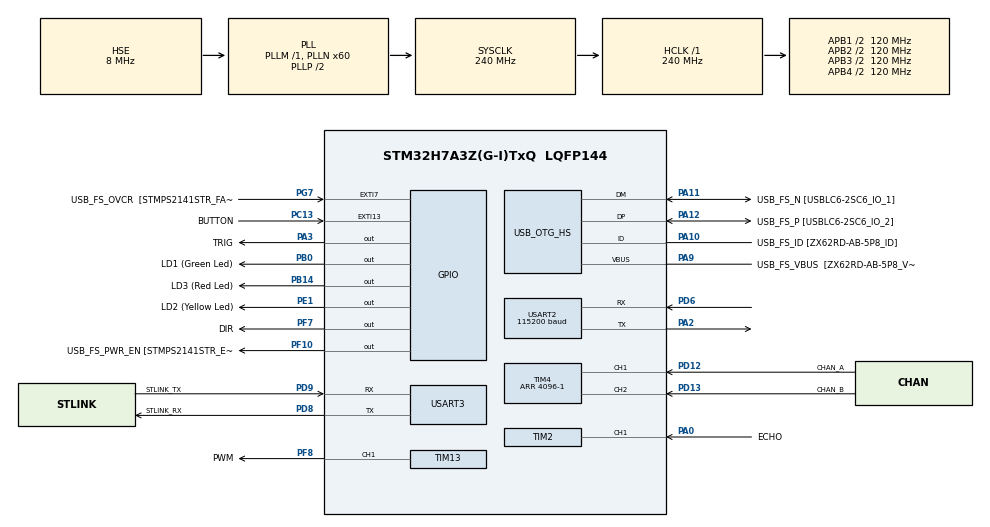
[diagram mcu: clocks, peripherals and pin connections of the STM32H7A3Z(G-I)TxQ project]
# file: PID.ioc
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Mcu.Family=STM32H7
Mcu.Name=STM32H7A3Z(G-I)TxQ
Mcu.Package=LQFP144
NVIC.EXTI15_10_IRQn=true\:0\:0\:false\:false\:true\:true\:true\:true
NVIC.PriorityGroup=NVIC_PRIORITYGROUP_4
NVIC.TIM1_UP_IRQn=true\:0\:0\:false\:false\:true\:true\:true\:true
NVIC.TIM2_IRQn=true\:0\:0\:false\:false\:true\:true\:true\:true
NVIC.TIM3_IRQn=true\:0\:0\:false\:false\:true\:true\:true\:true
NVIC.TIM4_IRQn=true\:0\:0\:false\:false\:true\:true\:true\:true
NVIC.TIM8_UP_TIM13_IRQn=true\:0\:0\:false\:false\:true\:true\:true\:true
PA0.GPIO_Label=ECHO
PA0.Signal=S_TIM2_CH1_ETR
PA10.GPIO_Label=USB_FS_ID [ZX62RD-AB-5P8_ID]
PA10.Mode=OTG/Dual-Role-Device-FS
PA10.Signal=USB_OTG_HS_ID
PA11.GPIO_Label=USB_FS_N [USBLC6-2SC6_IO_1]
PA11.Mode=OTG/Dual-Role-Device-FS
PA11.Signal=USB_OTG_HS_DM
PA12.GPIO_Label=USB_FS_P [USBLC6-2SC6_IO_2]
PA12.Mode=OTG/Dual-Role-Device-FS
PA12.Signal=USB_OTG_HS_DP
PA2.Mode=Asynchronous
PA2.Signal=USART2_TX
PA3.GPIO_Label=TRIG
PA3.GPIO_Speed=GPIO_SPEED_FREQ_HIGH
PA3.Signal=GPIO_Output
PA9.GPIO_Label=USB_FS_VBUS  [ZX62RD-AB-5P8_VBUS]
PA9.Mode=Activate_VBUS_FS
PA9.Signal=USB_OTG_HS_VBUS
PB0.GPIO_Label=LD1 (Green Led)
PB0.Signal=GPIO_Output
PB14.GPIO_Label=LD3 (Red Led)
PB14.Signal=GPIO_Output
PC13.GPIO_Label=BUTTON
PC13.Signal=GPXTI13
PC14-OSC32_IN.GPIO_Label=OSC32_IN
PC14-OSC32_IN.Mode=LSE-External-Oscillator
PC14-OSC32_IN.Signal=RCC_OSC32_IN
PC15-OSC32_OUT.GPIO_Label=OSC32_OUT
PC15-OSC32_OUT.Mode=LSE-External-Oscillator
PC15-OSC32_OUT.Signal=RCC_OSC32_OUT
PD12.GPIO_Label=CHAN_A
PD12.Signal=S_TIM4_CH1
PD13.GPIO_Label=CHAN_B
PD13.Signal=S_TIM4_CH2
PD6.Mode=Asynchronous
PD6.Signal=USART2_RX
PD8.GPIO_Label=STLINK_RX
PD8.Mode=Asynchronous
PD8.Signal=USART3_TX
PD9.GPIO_Label=STLINK_TX
PD9.Mode=Asynchronous
PD9.Signal=USART3_RX
PE1.GPIO_Label=LD2 (Yellow Led)
PE1.Signal=GPIO_Output
PF10.GPIO_Label=USB_FS_PWR_EN [STMPS2141STR_EN]
PF10.Signal=GPIO_Output
PF7.GPIO_Label=DIR
PF7.Signal=GPIO_Output
PF8.GPIO_Label=PWM
PF8.Signal=S_TIM13_CH1
PG7.GPIO_Label=USB_FS_OVCR  [STMPS2141STR_FAULT]
PG7.Signal=GPXTI7
PH0-OSC_IN.GPIO_Label=PH0-MCU
PH0-OSC_IN.Mode=HSE-External-Clock-Source
PH0-OSC_IN.Signal=RCC_OSC_IN
PH1-OSC_OUT.GPIO_Label=PH1-MCU
PH1-OSC_OUT.Signal=RCC_OSC_OUT
ProjectManager.HeapSize=0x200
ProjectManager.StackSize=0x400
ProjectManager.TargetToolchain=STM32CubeIDE
RCC.ADCFreq_Value=16125000
RCC.APB1Freq_Value=120000000
RCC.APB2Freq_Value=120000000
RCC.APB3Freq_Value=120000000
RCC.APB4Freq_Value=120000000
RCC.CDPPRE=RCC_APB3_DIV2
RCC.CDPPRE1=RCC_APB1_DIV2
RCC.CDPPRE2=RCC_APB2_DIV2
RCC.CortexFreq_Value=240000000
RCC.DIVM1=1
RCC.DIVM3=1
RCC.DIVN1=60
RCC.DIVN3=24
RCC.DIVQ1=4
RCC.HCLKFreq_Value=240000000
RCC.HSE_VALUE=8000000
RCC.PLLFRACN=0
RCC.PLLSourceVirtual=RCC_PLLSOURCE_HSE
RCC.PWR_Regulator_Voltage_Scale=PWR_REGULATOR_VOLTAGE_SCALE0
RCC.SRDPPRE=RCC_APB4_DIV2
RCC.SYSCLKFreq_VALUE=240000000
RCC.SYSCLKSource=RCC_SYSCLKSOURCE_PLLCLK
RCC.SupplySource=PWR_DIRECT_SMPS_SUPPLY
RCC.USBCLockSelection=RCC_USBCLKSOURCE_HSI48
RCC.USBFreq_Value=48000000
SH.S_TIM13_CH1.0=TIM13_CH1,PWM Generation1 CH1
SH.S_TIM2_CH1_ETR.0=TIM2_CH1,Input_Capture1_from_TI1
SH.S_TIM4_CH1.0=TIM4_CH1,Encoder_Interface
SH.S_TIM4_CH2.0=TIM4_CH2,Encoder_Interface
TIM1.Period=3000-1
TIM1.Prescaler=2400-1
TIM13.Channel=TIM_CHANNEL_1
TIM13.Period=1000-1
TIM13.Prescaler=240-1
TIM2.Channel-Input_Capture1_from_TI1=TIM_CHANNEL_1
TIM2.ICPolarity_CH1=TIM_INPUTCHANNELPOLARITY_RISING
TIM2.Prescaler=240-1
TIM3.Period=10-1
TIM3.Prescaler=240-1
TIM4.EncoderMode=TIM_ENCODERMODE_TI12
TIM4.Period=4096-1
USART2.BaudRate=115200
USART2.VirtualMode-Asynchronous=VM_ASYNC
USART3.VirtualMode-Asynchronous=VM_ASYNC
VP_TIM13_VS_ClockSourceINT.Mode=Enable_Timer
VP_TIM1_VS_ClockSourceINT.Mode=Internal
VP_TIM3_VS_ClockSourceINT.Mode=Internal
board=NUCLEO-H7A3ZI-Q

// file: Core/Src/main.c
/* USER CODE BEGIN Header */
/**
 ******************************************************************************
 * @file           : main.c
 * @brief          : Main program body
 ******************************************************************************
 * @attention
 *
 * Copyright (c) 2022 STMicroelectronics.
 * All rights reserved.
 *
 * This software is licensed under terms that can be found in the LICENSE file
 * in the root directory of this software component.
 * If no LICENSE file comes with this software, it is provided AS-IS.
 *
 ******************************************************************************
 */
/* USER CODE END Header */
#include "main.h"

/* USER CODE BEGIN Includes */
#include "PID.h"
#include <stdio.h>
#include <stdlib.h>
#include <math.h>
/* USER CODE END Includes */

/* USER CODE BEGIN PD */
//----ENCODER DEFINE----
#define PPR 1024
#define GEAR_RATIO 1
#define RESOLUTION 4
#define STARTPOSITION 90
//----------------------

//---- SONAR DEFINE ----
#define TIMCLOCK   240000000
#define PRESCALAR  240-1
//----------------------

//---- MOTOR DEFINE ----
#define CW 1	// Clockwise(CW) Rotation
#define CCW 0   // Counterclockwise(CCW) Rotation
//----------------------
/* USER CODE END PD */

TIM_HandleTypeDef htim1;
TIM_HandleTypeDef htim2;
TIM_HandleTypeDef htim3;
TIM_HandleTypeDef htim4;
TIM_HandleTypeDef htim13;

UART_HandleTypeDef huart2;
UART_HandleTypeDef huart3;

/* USER CODE BEGIN PV */

//---- ENCODER PV----
double countsXDeg = 360.0/(PPR*GEAR_RATIO*RESOLUTION);
double counts = 0;
double degAngle = 0;
double prevDegAngle = 0;
double degsToRads = 0.017453292519943;
//-------------------

//---- SONAR PV -----
int IC_Val1 = 0;
int IC_Val2 = 0;
int Difference = 0;
int Is_First_Captured = 0;
float usWidth = 0;
float distance = 0;
float prevDistance = 0;
double prevPos = 0.0;

int trigFlag = 0;
//-------------------

//---- SYSTEM PV ----
PID pid;
float PIDsetPoint = 0.0;
double referencePosition = 0.60;

double deltaT = 0.03;  //sampling period
double timestamp = 0.0;
double x[4] = {0,0,0,0}; //stato (posizione, velocitàLineare, angolo, velocitàAngolare)
double u = 0; //
double controlUpperLimit = 950;
double controlLowerLimit = -950;
int dataAquisitionFlag = 0;
int startFlag = 0;
//-------------------
/* USER CODE END PV */

void SystemClock_Config(void);
static void MX_GPIO_Init(void);
static void MX_USART3_UART_Init(void);
static void MX_USB_OTG_HS_USB_Init(void);
static void MX_TIM2_Init(void);
static void MX_TIM1_Init(void);
static void MX_TIM3_Init(void);
static void MX_TIM4_Init(void);
static void MX_TIM13_Init(void);
static void MX_USART2_UART_Init(void);
/* USER CODE BEGIN PFP */
double getEncoderAngle();
double getAngularSpeed();
double getPosition();
double getLinearSpeed();

void setMotorDuty(int duty);
void setMotorDir(int dir);

void printTelemetry();

double round(double x);
double kalman(double dist);
/* USER CODE END PFP */

int main(void)
{

	/* MCU Configuration--------------------------------------------------------*/

	/* Reset of all peripherals, Initializes the Flash interface and the Systick. */
	HAL_Init();

	/* Configure the system clock */
	SystemClock_Config();

	/* Initialize all configured peripherals */
	MX_GPIO_Init();
	MX_USART3_UART_Init();
	MX_USB_OTG_HS_USB_Init();
	MX_TIM2_Init();
	MX_TIM1_Init();
	MX_TIM3_Init();
	MX_TIM4_Init();
	MX_TIM13_Init();
	MX_USART2_UART_Init();
	/* USER CODE BEGIN 2 */
	HAL_TIM_Base_Start_IT(&htim1);  //Data Aquisition Timer
	HAL_TIM_IC_Start_IT(&htim2, TIM_CHANNEL_1);  //Sonar Timer (ECHO_Pin pulse Width)
	HAL_TIM_Base_Start_IT(&htim3);  //Sonar TRIG_Pin Timer
	HAL_TIM_Encoder_Start(&htim4, TIM_CHANNEL_ALL);  //Encoder Timer
	HAL_TIM_PWM_Start(&htim13, TIM_CHANNEL_1); // PWM Timer

	init_PID(&pid, deltaT, controlUpperLimit, controlLowerLimit);
	tune_PID(&pid, 110, 880, 9.075);// kp ki kd  //molto buono 325, 2, 7 oppure 400, 765, 4, oppure 300 540 3
	/* USER CODE END 2 */

	/* Infinite loop */
	while (1)
	{

		/* USER CODE BEGIN 3 */
		if (dataAquisitionFlag == 1) {
			x[0]=getPosition();
			x[1]=getLinearSpeed();
			x[2]=getEncoderAngle();
			x[3]=getAngularSpeed();

			if (startFlag == 1) {
				timestamp += deltaT;
				u = PID_controller(&pid, x[2], PIDsetPoint);

				if(u == 0)
					setMotorDuty(0);
				else if (u > 0){
					setMotorDir(CCW);
				}
				else{
					setMotorDir(CW);
				}

				setMotorDuty(abs((int)u));
			} else
				setMotorDuty(0);

			printTelemetry();
			dataAquisitionFlag = 0;
		}
	}
	/* USER CODE END 3 */
}

void SystemClock_Config(void)
{
	RCC_OscInitTypeDef RCC_OscInitStruct = {0};
	RCC_ClkInitTypeDef RCC_ClkInitStruct = {0};

	/*AXI clock gating */
	RCC->CKGAENR = 0xFFFFFFFF;

	/** Supply configuration update enable
	 */
	HAL_PWREx_ConfigSupply(PWR_DIRECT_SMPS_SUPPLY);

	/** Configure the main internal regulator output voltage
	 */
	__HAL_PWR_VOLTAGESCALING_CONFIG(PWR_REGULATOR_VOLTAGE_SCALE0);

	while(!__HAL_PWR_GET_FLAG(PWR_FLAG_VOSRDY)) {}

	/** Initializes the RCC Oscillators according to the specified parameters
	 * in the RCC_OscInitTypeDef structure.
	 */
	RCC_OscInitStruct.OscillatorType = RCC_OSCILLATORTYPE_HSI48|RCC_OSCILLATORTYPE_HSE;
	RCC_OscInitStruct.HSEState = RCC_HSE_BYPASS;
	RCC_OscInitStruct.HSI48State = RCC_HSI48_ON;
	RCC_OscInitStruct.PLL.PLLState = RCC_PLL_ON;
	RCC_OscInitStruct.PLL.PLLSource = RCC_PLLSOURCE_HSE;
	RCC_OscInitStruct.PLL.PLLM = 1;
	RCC_OscInitStruct.PLL.PLLN = 60;
	RCC_OscInitStruct.PLL.PLLP = 2;
	RCC_OscInitStruct.PLL.PLLQ = 4;
	RCC_OscInitStruct.PLL.PLLR = 2;
	RCC_OscInitStruct.PLL.PLLRGE = RCC_PLL1VCIRANGE_3;
	RCC_OscInitStruct.PLL.PLLVCOSEL = RCC_PLL1VCOWIDE;
	RCC_OscInitStruct.PLL.PLLFRACN = 0;
	if (HAL_RCC_OscConfig(&RCC_OscInitStruct) != HAL_OK)
	{
		Error_Handler();
	}

	/** Initializes the CPU, AHB and APB buses clocks
	 */
	RCC_ClkInitStruct.ClockType = RCC_CLOCKTYPE_HCLK|RCC_CLOCKTYPE_SYSCLK
			|RCC_CLOCKTYPE_PCLK1|RCC_CLOCKTYPE_PCLK2
			|RCC_CLOCKTYPE_D3PCLK1|RCC_CLOCKTYPE_D1PCLK1;
	RCC_ClkInitStruct.SYSCLKSource = RCC_SYSCLKSOURCE_PLLCLK;
	RCC_ClkInitStruct.SYSCLKDivider = RCC_SYSCLK_DIV1;
	RCC_ClkInitStruct.AHBCLKDivider = RCC_HCLK_DIV1;
	RCC_ClkInitStruct.APB3CLKDivider = RCC_APB3_DIV2;
	RCC_ClkInitStruct.APB1CLKDivider = RCC_APB1_DIV2;
	RCC_ClkInitStruct.APB2CLKDivider = RCC_APB2_DIV2;
	RCC_ClkInitStruct.APB4CLKDivider = RCC_APB4_DIV2;

	if (HAL_RCC_ClockConfig(&RCC_ClkInitStruct, FLASH_LATENCY_5) != HAL_OK)
	{
		Error_Handler();
	}
}

static void MX_TIM1_Init(void)
{

	TIM_ClockConfigTypeDef sClockSourceConfig = {0};
	TIM_MasterConfigTypeDef sMasterConfig = {0};

	htim1.Instance = TIM1;
	htim1.Init.Prescaler = 2400-1;
	htim1.Init.CounterMode = TIM_COUNTERMODE_UP;
	htim1.Init.Period = 3000-1;
	htim1.Init.ClockDivision = TIM_CLOCKDIVISION_DIV1;
	htim1.Init.RepetitionCounter = 0;
	htim1.Init.AutoReloadPreload = TIM_AUTORELOAD_PRELOAD_DISABLE;
	if (HAL_TIM_Base_Init(&htim1) != HAL_OK)
	{
		Error_Handler();
	}
	sClockSourceConfig.ClockSource = TIM_CLOCKSOURCE_INTERNAL;
	if (HAL_TIM_ConfigClockSource(&htim1, &sClockSourceConfig) != HAL_OK)
	{
		Error_Handler();
	}
	sMasterConfig.MasterOutputTrigger = TIM_TRGO_RESET;
	sMasterConfig.MasterOutputTrigger2 = TIM_TRGO2_RESET;
	sMasterConfig.MasterSlaveMode = TIM_MASTERSLAVEMODE_DISABLE;
	if (HAL_TIMEx_MasterConfigSynchronization(&htim1, &sMasterConfig) != HAL_OK)
	{
		Error_Handler();
	}

}

static void MX_TIM2_Init(void)
{

	TIM_MasterConfigTypeDef sMasterConfig = {0};
	TIM_IC_InitTypeDef sConfigIC = {0};

	htim2.Instance = TIM2;
	htim2.Init.Prescaler = 240-1;
	htim2.Init.CounterMode = TIM_COUNTERMODE_UP;
	htim2.Init.Period = 4294967295;
	htim2.Init.ClockDivision = TIM_CLOCKDIVISION_DIV1;
	htim2.Init.AutoReloadPreload = TIM_AUTORELOAD_PRELOAD_DISABLE;
	if (HAL_TIM_IC_Init(&htim2) != HAL_OK)
	{
		Error_Handler();
	}
	sMasterConfig.MasterOutputTrigger = TIM_TRGO_RESET;
	sMasterConfig.MasterSlaveMode = TIM_MASTERSLAVEMODE_DISABLE;
	if (HAL_TIMEx_MasterConfigSynchronization(&htim2, &sMasterConfig) != HAL_OK)
	{
		Error_Handler();
	}
	sConfigIC.ICPolarity = TIM_INPUTCHANNELPOLARITY_RISING;
	sConfigIC.ICSelection = TIM_ICSELECTION_DIRECTTI;
	sConfigIC.ICPrescaler = TIM_ICPSC_DIV1;
	sConfigIC.ICFilter = 0;
	if (HAL_TIM_IC_ConfigChannel(&htim2, &sConfigIC, TIM_CHANNEL_1) != HAL_OK)
	{
		Error_Handler();
	}

}

static void MX_TIM3_Init(void)
{

	TIM_ClockConfigTypeDef sClockSourceConfig = {0};
	TIM_MasterConfigTypeDef sMasterConfig = {0};

	htim3.Instance = TIM3;
	htim3.Init.Prescaler = 240-1;
	htim3.Init.CounterMode = TIM_COUNTERMODE_UP;
	htim3.Init.Period = 10-1;
	htim3.Init.ClockDivision = TIM_CLOCKDIVISION_DIV1;
	htim3.Init.AutoReloadPreload = TIM_AUTORELOAD_PRELOAD_DISABLE;
	if (HAL_TIM_Base_Init(&htim3) != HAL_OK)
	{
		Error_Handler();
	}
	sClockSourceConfig.ClockSource = TIM_CLOCKSOURCE_INTERNAL;
	if (HAL_TIM_ConfigClockSource(&htim3, &sClockSourceConfig) != HAL_OK)
	{
		Error_Handler();
	}
	sMasterConfig.MasterOutputTrigger = TIM_TRGO_RESET;
	sMasterConfig.MasterSlaveMode = TIM_MASTERSLAVEMODE_DISABLE;
	if (HAL_TIMEx_MasterConfigSynchronization(&htim3, &sMasterConfig) != HAL_OK)
	{
		Error_Handler();
	}

}

static void MX_TIM4_Init(void)
{

	TIM_Encoder_InitTypeDef sConfig = {0};
	TIM_MasterConfigTypeDef sMasterConfig = {0};

	htim4.Instance = TIM4;
	htim4.Init.Prescaler = 0;
	htim4.Init.CounterMode = TIM_COUNTERMODE_UP;
	htim4.Init.Period = 4096-1;
	htim4.Init.ClockDivision = TIM_CLOCKDIVISION_DIV1;
	htim4.Init.AutoReloadPreload = TIM_AUTORELOAD_PRELOAD_DISABLE;
	sConfig.EncoderMode = TIM_ENCODERMODE_TI12;
	sConfig.IC1Polarity = TIM_ICPOLARITY_RISING;
	sConfig.IC1Selection = TIM_ICSELECTION_DIRECTTI;
	sConfig.IC1Prescaler = TIM_ICPSC_DIV1;
	sConfig.IC1Filter = 0;
	sConfig.IC2Polarity = TIM_ICPOLARITY_RISING;
	sConfig.IC2Selection = TIM_ICSELECTION_DIRECTTI;
	sConfig.IC2Prescaler = TIM_ICPSC_DIV1;
	sConfig.IC2Filter = 0;
	if (HAL_TIM_Encoder_Init(&htim4, &sConfig) != HAL_OK)
	{
		Error_Handler();
	}
	sMasterConfig.MasterOutputTrigger = TIM_TRGO_RESET;
	sMasterConfig.MasterSlaveMode = TIM_MASTERSLAVEMODE_DISABLE;
	if (HAL_TIMEx_MasterConfigSynchronization(&htim4, &sMasterConfig) != HAL_OK)
	{
		Error_Handler();
	}

}

static void MX_TIM13_Init(void)
{

	TIM_OC_InitTypeDef sConfigOC = {0};

	htim13.Instance = TIM13;
	htim13.Init.Prescaler = 240-1;
	htim13.Init.CounterMode = TIM_COUNTERMODE_UP;
	htim13.Init.Period = 1000-1;
	htim13.Init.ClockDivision = TIM_CLOCKDIVISION_DIV1;
	htim13.Init.AutoReloadPreload = TIM_AUTORELOAD_PRELOAD_DISABLE;
	if (HAL_TIM_Base_Init(&htim13) != HAL_OK)
	{
		Error_Handler();
	}
	if (HAL_TIM_PWM_Init(&htim13) != HAL_OK)
	{
		Error_Handler();
	}
	sConfigOC.OCMode = TIM_OCMODE_PWM1;
	sConfigOC.Pulse = 0;
	sConfigOC.OCPolarity = TIM_OCPOLARITY_HIGH;
	sConfigOC.OCFastMode = TIM_OCFAST_DISABLE;
	if (HAL_TIM_PWM_ConfigChannel(&htim13, &sConfigOC, TIM_CHANNEL_1) != HAL_OK)
	{
		Error_Handler();
	}
	HAL_TIM_MspPostInit(&htim13);

}

static void MX_USART2_UART_Init(void)
{

	huart2.Instance = USART2;
	huart2.Init.BaudRate = 115200;
	huart2.Init.WordLength = UART_WORDLENGTH_8B;
	huart2.Init.StopBits = UART_STOPBITS_1;
	huart2.Init.Parity = UART_PARITY_NONE;
	huart2.Init.Mode = UART_MODE_TX_RX;
	huart2.Init.HwFlowCtl = UART_HWCONTROL_NONE;
	huart2.Init.OverSampling = UART_OVERSAMPLING_16;
	huart2.Init.OneBitSampling = UART_ONE_BIT_SAMPLE_DISABLE;
	huart2.Init.ClockPrescaler = UART_PRESCALER_DIV1;
	huart2.AdvancedInit.AdvFeatureInit = UART_ADVFEATURE_NO_INIT;
	if (HAL_UART_Init(&huart2) != HAL_OK)
	{
		Error_Handler();
	}
	if (HAL_UARTEx_SetTxFifoThreshold(&huart2, UART_TXFIFO_THRESHOLD_1_8) != HAL_OK)
	{
		Error_Handler();
	}
	if (HAL_UARTEx_SetRxFifoThreshold(&huart2, UART_RXFIFO_THRESHOLD_1_8) != HAL_OK)
	{
		Error_Handler();
	}
	if (HAL_UARTEx_DisableFifoMode(&huart2) != HAL_OK)
	{
		Error_Handler();
	}

}

static void MX_USART3_UART_Init(void)
{

	huart3.Instance = USART3;
	huart3.Init.BaudRate = 115200;
	huart3.Init.WordLength = UART_WORDLENGTH_8B;
	huart3.Init.StopBits = UART_STOPBITS_1;
	huart3.Init.Parity = UART_PARITY_NONE;
	huart3.Init.Mode = UART_MODE_TX_RX;
	huart3.Init.HwFlowCtl = UART_HWCONTROL_NONE;
	huart3.Init.OverSampling = UART_OVERSAMPLING_16;
	huart3.Init.OneBitSampling = UART_ONE_BIT_SAMPLE_DISABLE;
	huart3.Init.ClockPrescaler = UART_PRESCALER_DIV1;
	huart3.AdvancedInit.AdvFeatureInit = UART_ADVFEATURE_NO_INIT;
	if (HAL_UART_Init(&huart3) != HAL_OK)
	{
		Error_Handler();
	}
	if (HAL_UARTEx_SetTxFifoThreshold(&huart3, UART_TXFIFO_THRESHOLD_1_8) != HAL_OK)
	{
		Error_Handler();
	}
	if (HAL_UARTEx_SetRxFifoThreshold(&huart3, UART_RXFIFO_THRESHOLD_1_8) != HAL_OK)
	{
		Error_Handler();
	}
	if (HAL_UARTEx_DisableFifoMode(&huart3) != HAL_OK)
	{
		Error_Handler();
	}

}

static void MX_USB_OTG_HS_USB_Init(void)
{

}

static void MX_GPIO_Init(void)
{
	GPIO_InitTypeDef GPIO_InitStruct = {0};

	/* GPIO Ports Clock Enable */
	__HAL_RCC_GPIOC_CLK_ENABLE();
	__HAL_RCC_GPIOF_CLK_ENABLE();
	__HAL_RCC_GPIOH_CLK_ENABLE();
	__HAL_RCC_GPIOA_CLK_ENABLE();
	__HAL_RCC_GPIOB_CLK_ENABLE();
	__HAL_RCC_GPIOD_CLK_ENABLE();
	__HAL_RCC_GPIOG_CLK_ENABLE();
	__HAL_RCC_GPIOE_CLK_ENABLE();

	/*Configure GPIO pin Output Level */
	HAL_GPIO_WritePin(GPIOF, DIR_Pin|USB_FS_PWR_EN_Pin, GPIO_PIN_RESET);

	/*Configure GPIO pin Output Level */
	HAL_GPIO_WritePin(TRIG_GPIO_Port, TRIG_Pin, GPIO_PIN_RESET);

	/*Configure GPIO pin Output Level */
	HAL_GPIO_WritePin(GPIOB, LD1_Pin|LD3_Pin, GPIO_PIN_RESET);

	/*Configure GPIO pin Output Level */
	HAL_GPIO_WritePin(LD2_GPIO_Port, LD2_Pin, GPIO_PIN_RESET);

	/*Configure GPIO pin : BUTTON_Pin */
	GPIO_InitStruct.Pin = BUTTON_Pin;
	GPIO_InitStruct.Mode = GPIO_MODE_IT_RISING;
	GPIO_InitStruct.Pull = GPIO_NOPULL;
	HAL_GPIO_Init(BUTTON_GPIO_Port, &GPIO_InitStruct);

	/*Configure GPIO pins : DIR_Pin USB_FS_PWR_EN_Pin */
	GPIO_InitStruct.Pin = DIR_Pin|USB_FS_PWR_EN_Pin;
	GPIO_InitStruct.Mode = GPIO_MODE_OUTPUT_PP;
	GPIO_InitStruct.Pull = GPIO_NOPULL;
	GPIO_InitStruct.Speed = GPIO_SPEED_FREQ_LOW;
	HAL_GPIO_Init(GPIOF, &GPIO_InitStruct);

	/*Configure GPIO pin : TRIG_Pin */
	GPIO_InitStruct.Pin = TRIG_Pin;
	GPIO_InitStruct.Mode = GPIO_MODE_OUTPUT_PP;
	GPIO_InitStruct.Pull = GPIO_NOPULL;
	GPIO_InitStruct.Speed = GPIO_SPEED_FREQ_HIGH;
	HAL_GPIO_Init(TRIG_GPIO_Port, &GPIO_InitStruct);

	/*Configure GPIO pins : LD1_Pin LD3_Pin */
	GPIO_InitStruct.Pin = LD1_Pin|LD3_Pin;
	GPIO_InitStruct.Mode = GPIO_MODE_OUTPUT_PP;
	GPIO_InitStruct.Pull = GPIO_NOPULL;
	GPIO_InitStruct.Speed = GPIO_SPEED_FREQ_LOW;
	HAL_GPIO_Init(GPIOB, &GPIO_InitStruct);

	/*Configure GPIO pin : USB_FS_OVCR_Pin */
	GPIO_InitStruct.Pin = USB_FS_OVCR_Pin;
	GPIO_InitStruct.Mode = GPIO_MODE_IT_RISING;
	GPIO_InitStruct.Pull = GPIO_NOPULL;
	HAL_GPIO_Init(USB_FS_OVCR_GPIO_Port, &GPIO_InitStruct);

	/*Configure GPIO pin : USB_FS_VBUS_Pin */
	GPIO_InitStruct.Pin = USB_FS_VBUS_Pin;
	GPIO_InitStruct.Mode = GPIO_MODE_INPUT;
	GPIO_InitStruct.Pull = GPIO_NOPULL;
	HAL_GPIO_Init(USB_FS_VBUS_GPIO_Port, &GPIO_InitStruct);

	/*Configure GPIO pin : USB_FS_ID_Pin */
	GPIO_InitStruct.Pin = USB_FS_ID_Pin;
	GPIO_InitStruct.Mode = GPIO_MODE_AF_PP;
	GPIO_InitStruct.Pull = GPIO_NOPULL;
	GPIO_InitStruct.Speed = GPIO_SPEED_FREQ_LOW;
	GPIO_InitStruct.Alternate = GPIO_AF10_OTG1_HS;
	HAL_GPIO_Init(USB_FS_ID_GPIO_Port, &GPIO_InitStruct);

	/*Configure GPIO pins : USB_FS_N_Pin USB_FS_P_Pin */
	GPIO_InitStruct.Pin = USB_FS_N_Pin|USB_FS_P_Pin;
	GPIO_InitStruct.Mode = GPIO_MODE_AF_PP;
	GPIO_InitStruct.Pull = GPIO_NOPULL;
	GPIO_InitStruct.Speed = GPIO_SPEED_FREQ_LOW;
	HAL_GPIO_Init(GPIOA, &GPIO_InitStruct);

	/*Configure GPIO pin : LD2_Pin */
	GPIO_InitStruct.Pin = LD2_Pin;
	GPIO_InitStruct.Mode = GPIO_MODE_OUTPUT_PP;
	GPIO_InitStruct.Pull = GPIO_NOPULL;
	GPIO_InitStruct.Speed = GPIO_SPEED_FREQ_LOW;
	HAL_GPIO_Init(LD2_GPIO_Port, &GPIO_InitStruct);

	/* EXTI interrupt init*/
	HAL_NVIC_SetPriority(EXTI15_10_IRQn, 0, 0);
	HAL_NVIC_EnableIRQ(EXTI15_10_IRQn);

}

/* USER CODE BEGIN 4 */
int __io_putchar(int ch) {
	HAL_UART_Transmit(&huart3, (uint8_t *)&ch, 1, 0xFFFF);  //USB
	HAL_UART_Transmit(&huart2, (uint8_t *)&ch, 1, 0xFFFF);	//telemetry module
	return ch;
}

void HAL_TIM_PeriodElapsedCallback (TIM_HandleTypeDef *htim)
{
	if (htim == &htim3) {
		if (trigFlag == 0)
			HAL_GPIO_WritePin(TRIG_GPIO_Port, TRIG_Pin, GPIO_PIN_SET);
		else
			HAL_GPIO_WritePin(TRIG_GPIO_Port, TRIG_Pin, GPIO_PIN_RESET);

		if (trigFlag == 2999)  //5999 con timer a 60ms
			trigFlag = 0;
		else
			trigFlag++;
	}

	if(htim == &htim1)
		dataAquisitionFlag = 1;
}

void HAL_TIM_IC_CaptureCallback(TIM_HandleTypeDef *htim) {

	if (htim->Channel == HAL_TIM_ACTIVE_CHANNEL_1) // if the interrupt source is channel1
	{
		if (Is_First_Captured == 0) // if the first value is not captured
		{
			IC_Val1 = HAL_TIM_ReadCapturedValue(htim, TIM_CHANNEL_1); // read the first value
			Is_First_Captured = 1;  // set the first captured as true
			// Now change the polarity to falling edge
			__HAL_TIM_SET_CAPTUREPOLARITY(htim, TIM_CHANNEL_1,
					TIM_INPUTCHANNELPOLARITY_FALLING);
		}

		else if (Is_First_Captured == 1)   // if the first is already captured
		{
			IC_Val2 = HAL_TIM_ReadCapturedValue(htim, TIM_CHANNEL_1); // read second value
			__HAL_TIM_SET_COUNTER(htim, 0);  // reset the counter

			if (IC_Val2 > IC_Val1) {
				Difference = IC_Val2 - IC_Val1;
			}

			else if (IC_Val1 > IC_Val2) {
				Difference = (0xffffffff - IC_Val1) + IC_Val2;
			}

			float refClock = TIMCLOCK / (PRESCALAR);
			float mFactor = 1000000 / refClock;

			usWidth = (double) Difference * mFactor;
			distance = (usWidth / 58)/100;  //prima: senza/100
			Is_First_Captured = 0; // set it back to false

			// set polarity to rising edge
			__HAL_TIM_SET_CAPTUREPOLARITY(htim, TIM_CHANNEL_1,
					TIM_INPUTCHANNELPOLARITY_RISING);
		}
	}
}

void HAL_GPIO_EXTI_Callback(uint16_t GPIO_Pin) {
	if (GPIO_Pin == BUTTON_Pin){
		if(startFlag == 0)
			startFlag=1;
		else
			startFlag=0;
	}
}

double getEncoderAngle(){
	counts = TIM4 -> CNT;
	degAngle = counts*countsXDeg;

	if(degAngle >= 180)
		degAngle = degAngle - 360;

	return degAngle+STARTPOSITION;
}

double getAngularSpeed(){
	double speed = ((degAngle - prevDegAngle)/deltaT);
	prevDegAngle = degAngle;
	return speed*(M_PI/180);
}

double getPosition(){
	double position = referencePosition - (double)distance;
	return position;
}

double getLinearSpeed(){
	double currentPos = getPosition();
	double speed = (currentPos - prevPos)/deltaT;
	prevPos = currentPos;

	return speed;
}

void setMotorDuty(int duty){
	TIM13->CCR1 = duty;
}

void setMotorDir(int dir){
	HAL_GPIO_WritePin(DIR_GPIO_Port, DIR_Pin, dir);
}

void printTelemetry(){
	printf("%f,%f,%f,%f,%f,%f\r\n", timestamp, x[0], x[1], x[2], x[3], u);

}
/* USER CODE END 4 */

void Error_Handler(void)
{
	__disable_irq();
	while (1)
	{
	}
}
